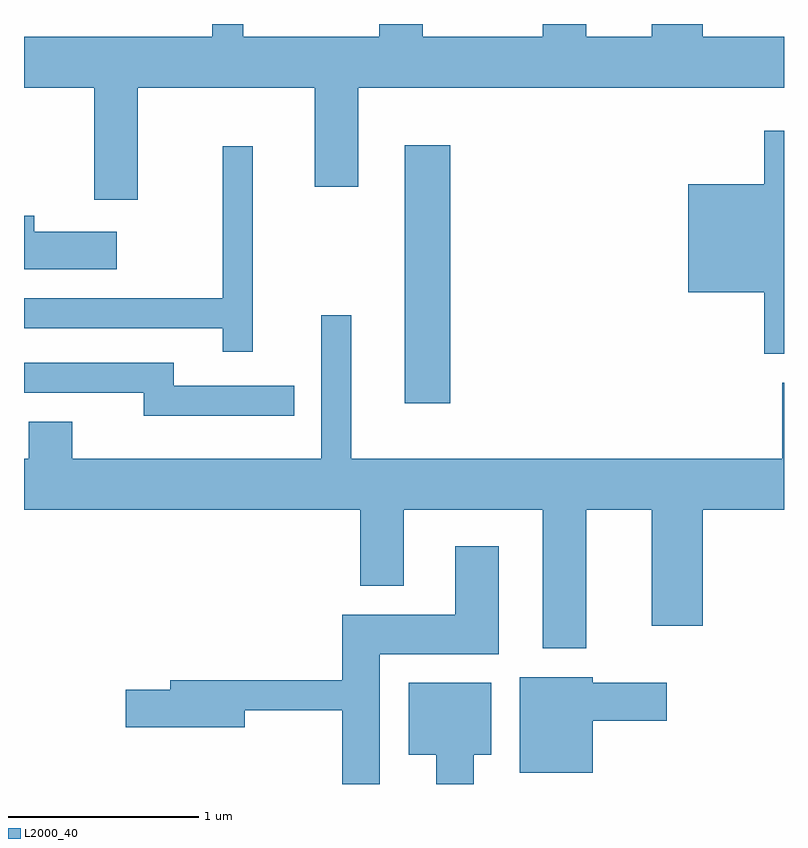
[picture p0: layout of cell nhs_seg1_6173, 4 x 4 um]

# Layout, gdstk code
import gdstk
lib = gdstk.Library(unit=1e-6, precision=1e-09)
def R(c, l, rs):  # rectangles x0, y0, x1, y1
    for r in rs: c.add(gdstk.rectangle(r[:2], r[2:], *l))
def P(c, l, *ps):  # polygons
    for p in ps: c.add(gdstk.Polygon(p, *l))
L2000_40 = (2000, 40)

nhs_seg1_6173 = lib.new_cell('nhs_seg1_6173')
R(nhs_seg1_6173, L2000_40, [(373.616,875.716,373.854,877.074)])
P(nhs_seg1_6173, L2000_40, [(375.611,877.644),(375.184,877.644),(375.184,877.712),(374.916,877.712),(374.916,877.644),(374.569,877.644),(374.569,877.712),(374.341,877.712),(374.341,877.644),(373.709,877.644),(373.709,877.712),(373.481,877.712),(373.481,877.644),(372.764,877.644),(372.764,877.712),(372.601,877.712),(372.601,877.644),(371.611,877.644),(371.611,877.376),(371.981,877.376),(371.981,876.786),(372.209,876.786),(372.209,877.376),(373.141,877.376),(373.141,876.856),(373.369,876.856),(373.369,877.376),(375.611,877.376)],
  [(375.611,877.149),(375.506,877.149),(375.506,876.869),(375.106,876.869),(375.106,876.301),(375.506,876.301),(375.506,875.976),(375.611,875.976)],
  [(372.814,877.068),(372.656,877.068),(372.656,876.269),(371.611,876.269),(371.611,876.111),(372.656,876.111),(372.656,875.988),(372.814,875.988)],
  [(372.099,876.619),(371.664,876.619),(371.664,876.704),(371.611,876.704),(371.611,876.421),(372.099,876.421)],
  [(374.569,875.156),(374.916,875.156),(374.916,874.546),(375.184,874.546),(375.184,875.156),(375.611,875.156),(375.611,875.824),(375.601,875.824),(375.601,875.424),(373.334,875.424),(373.334,876.178),(373.176,876.178),(373.176,875.424),(371.864,875.424),(371.864,875.619),(371.636,875.619),(371.636,875.424),(371.611,875.424),(371.611,875.156),(373.381,875.156),(373.381,874.756),(373.609,874.756),(373.609,875.156),(374.341,875.156),(374.341,874.426),(374.569,874.426)],
  [(373.033,875.809),(372.399,875.809),(372.399,875.929),(371.611,875.929),(371.611,875.771),(372.241,875.771),(372.241,875.651),(373.033,875.651)],
  [(373.484,874.396),(374.109,874.396),(374.109,874.964),(373.881,874.964),(373.881,874.604),(373.286,874.604),(373.286,874.259),(372.381,874.259),(372.381,874.209),(372.146,874.209),(372.146,874.011),(372.774,874.011),(372.774,874.101),(373.286,874.101),(373.286,873.712),(373.484,873.712)],
  [(374.604,874.046),(374.994,874.046),(374.994,874.244),(374.604,874.244),(374.604,874.274),(374.221,874.274),(374.221,873.771),(374.604,873.771)],
  [(373.979,873.866),(374.069,873.866),(374.069,874.244),(373.636,874.244),(373.636,873.866),(373.781,873.866),(373.781,873.712),(373.979,873.712)])

lib.write_gds('nhs_seg1_6173.gds')
